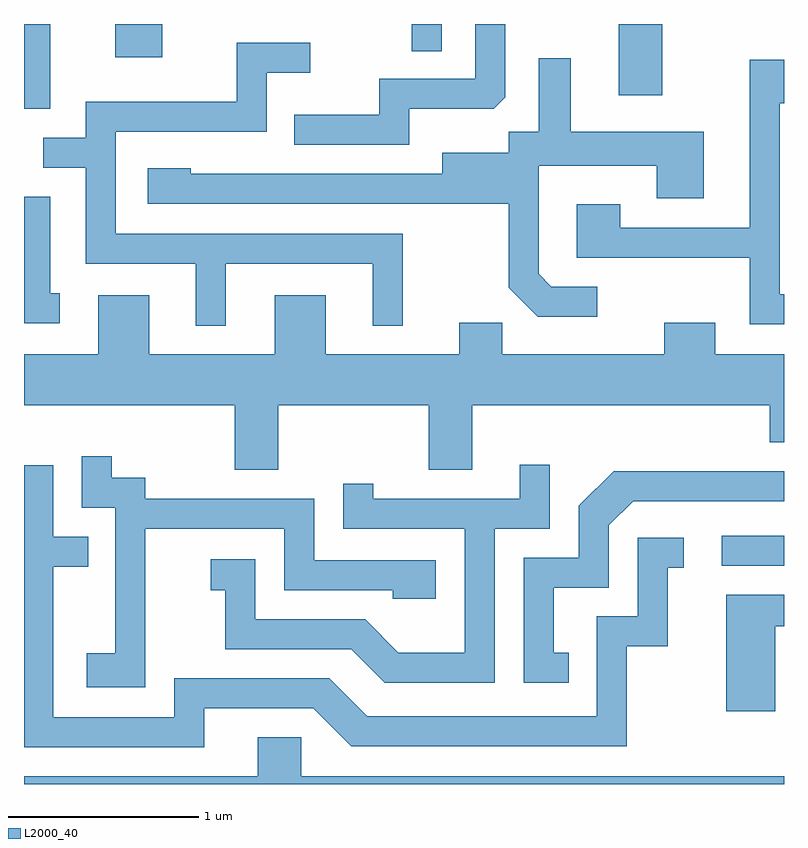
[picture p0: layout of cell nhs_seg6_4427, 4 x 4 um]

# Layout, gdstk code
import gdstk
lib = gdstk.Library(unit=1e-6, precision=1e-09)
def R(c, l, rs):  # rectangles x0, y0, x1, y1
    for r in rs: c.add(gdstk.rectangle(r[:2], r[2:], *l))
def P(c, l, *ps):  # polygons
    for p in ps: c.add(gdstk.Polygon(p, *l))
L2000_40 = (2000, 40)

nhs_seg6_4427 = lib.new_cell('nhs_seg6_4427')
R(nhs_seg6_4427, L2000_40, [(323.283,1651.311,323.611,1651.469), (319.611,1653.716,319.749,1654.162), (322.741,1653.786,322.969,1654.162), (320.091,1653.986,320.339,1654.162), (321.651,1654.018,321.809,1654.162)])
P(nhs_seg6_4427, L2000_40, [(321.639,1653.716),(322.084,1653.716),(322.144,1653.777),(322.144,1654.162),(321.986,1654.162),(321.986,1653.874),(321.481,1653.874),(321.481,1653.684),(321.033,1653.684),(321.033,1653.526),(321.639,1653.526)],
  [(320.674,1652.901),(321.446,1652.901),(321.446,1652.573),(321.604,1652.573),(321.604,1653.059),(320.094,1653.059),(320.094,1653.596),(320.889,1653.596),(320.889,1653.906),(321.118,1653.906),(321.118,1654.064),(320.731,1654.064),(320.731,1653.754),(319.936,1653.754),(319.936,1653.564),(319.713,1653.564),(319.713,1653.406),(319.936,1653.406),(319.936,1652.901),(320.516,1652.901),(320.516,1652.573),(320.674,1652.573)],
  [(322.628,1652.779),(322.387,1652.779),(322.319,1652.847),(322.319,1653.416),(322.941,1653.416),(322.941,1653.246),(323.189,1653.246),(323.189,1653.594),(322.489,1653.594),(322.489,1653.983),(322.321,1653.983),(322.321,1653.594),(322.161,1653.594),(322.161,1653.484),(321.811,1653.484),(321.811,1653.374),(320.489,1653.374),(320.489,1653.404),(320.261,1653.404),(320.261,1653.216),(322.161,1653.216),(322.161,1652.774),(322.314,1652.621),(322.628,1652.621)],
  [(323.611,1652.739),(323.589,1652.739),(323.589,1653.746),(323.611,1653.746),(323.611,1653.974),(323.431,1653.974),(323.431,1653.089),(322.749,1653.089),(322.749,1653.214),(322.521,1653.214),(322.521,1652.931),(323.431,1652.931),(323.431,1652.581),(323.611,1652.581)],
  [(319.798,1652.744),(319.749,1652.744),(319.749,1653.254),(319.611,1653.254),(319.611,1652.586),(319.798,1652.586)],
  [(320.949,1652.156),(321.741,1652.156),(321.741,1651.816),(321.969,1651.816),(321.969,1652.156),(323.536,1652.156),(323.536,1651.961),(323.611,1651.961),(323.611,1652.424),(323.249,1652.424),(323.249,1652.589),(322.981,1652.589),(322.981,1652.424),(322.129,1652.424),(322.129,1652.589),(321.901,1652.589),(321.901,1652.424),(321.199,1652.424),(321.199,1652.734),(320.931,1652.734),(320.931,1652.424),(320.269,1652.424),(320.269,1652.734),(320.001,1652.734),(320.001,1652.424),(319.611,1652.424),(319.611,1652.156),(320.721,1652.156),(320.721,1651.816),(320.949,1651.816)],
  [(320.249,1651.506),(320.981,1651.506),(320.981,1651.181),(321.551,1651.181),(321.551,1651.136),(321.779,1651.136),(321.779,1651.339),(321.139,1651.339),(321.139,1651.664),(320.249,1651.664),(320.249,1651.774),(320.074,1651.774),(320.074,1651.888),(319.916,1651.888),(319.916,1651.616),(320.091,1651.616),(320.091,1650.849),(319.941,1650.849),(319.941,1650.671),(320.249,1650.671)],
  [(322.089,1651.506),(322.379,1651.506),(322.379,1651.843),(322.221,1651.843),(322.221,1651.664),(321.449,1651.664),(321.449,1651.743),(321.291,1651.743),(321.291,1651.506),(321.931,1651.506),(321.931,1650.854),(321.582,1650.854),(321.407,1651.029),(320.829,1651.029),(320.829,1651.344),(320.593,1651.344),(320.593,1651.181),(320.671,1651.181),(320.671,1650.871),(321.334,1650.871),(321.509,1650.696),(322.089,1650.696)],
  [(320.559,1650.561),(321.134,1650.561),(321.334,1650.361),(322.784,1650.361),(322.784,1650.886),(322.999,1650.886),(322.999,1651.301),(323.083,1651.301),(323.083,1651.459),(322.841,1651.459),(322.841,1651.044),(322.626,1651.044),(322.626,1650.519),(321.417,1650.519),(321.217,1650.719),(320.401,1650.719),(320.401,1650.514),(319.764,1650.514),(319.764,1651.306),(319.948,1651.306),(319.948,1651.464),(319.764,1651.464),(319.764,1651.839),(319.611,1651.839),(319.611,1650.356),(320.559,1650.356)],
  [(322.478,1650.854),(322.399,1650.854),(322.399,1651.196),(322.689,1651.196),(322.689,1651.524),(322.817,1651.651),(323.611,1651.651),(323.611,1651.809),(322.714,1651.809),(322.531,1651.627),(322.531,1651.354),(322.241,1651.354),(322.241,1650.696),(322.478,1650.696)],
  [(323.564,1650.991),(323.611,1650.991),(323.611,1651.159),(323.306,1651.159),(323.306,1650.546),(323.564,1650.546)],
  [(323.611,1650.204),(321.069,1650.204),(321.069,1650.409),(320.841,1650.409),(320.841,1650.204),(319.611,1650.204),(319.611,1650.162),(323.611,1650.162)])

lib.write_gds('nhs_seg6_4427.gds')
